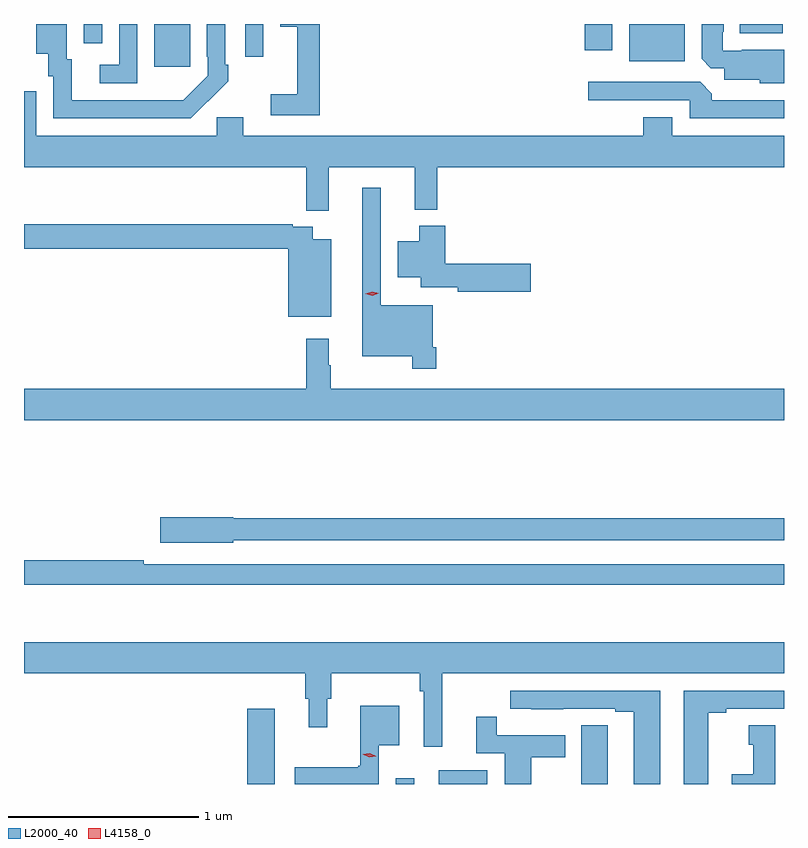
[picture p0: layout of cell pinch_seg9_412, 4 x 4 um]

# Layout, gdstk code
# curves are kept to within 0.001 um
import gdstk
lib = gdstk.Library(unit=1e-6, precision=1e-09)
def R(c, l, rs):  # rectangles x0, y0, x1, y1
    for r in rs: c.add(gdstk.rectangle(r[:2], r[2:], *l))
def P(c, l, *ps):  # polygons
    for p in ps: c.add(gdstk.Polygon(p, *l))
L2000_40 = (2000, 40)
L4158_0 = (4158, 0)

pinch_seg9_412 = lib.new_cell('pinch_seg9_412')
R(pinch_seg9_412, L2000_40, [(221.072,1237.129,221.218,1237.525), (221.853,1237.129,221.95,1237.159), (222.08,1237.129,222.334,1237.201), (220.583,1240.905,220.771,1241.129), (223.082,1240.934,223.375,1241.129), (221.061,1240.956,221.157,1241.129), (222.848,1240.992,222.994,1241.129), (220.212,1241.028,220.308,1241.129), (223.664,1241.081,223.891,1241.129)])
P(pinch_seg9_412, L2000_40, [(220.494,1241.129),(220.398,1241.129),(220.398,1240.914),(220.296,1240.914),(220.296,1240.818),(220.494,1240.818)],
  [(220.865,1240.723),(220.866,1240.722),(220.971,1240.827),(220.971,1240.915),(220.956,1240.915),(220.956,1241.129),(220.86,1241.129),(220.86,1240.957),(220.863,1240.957),(220.863,1240.857),(220.735,1240.729),(220.631,1240.728),(220.147,1240.728),(220.147,1240.944),(220.123,1240.944),(220.123,1241.129),(219.962,1241.129),(219.962,1240.973),(220.025,1240.973),(220.025,1240.854),(220.05,1240.854),(220.05,1240.632),(220.774,1240.632)],
  [(221.453,1241.129),(221.246,1241.129),(221.246,1241.114),(221.336,1241.114),(221.336,1240.759),(221.196,1240.759),(221.196,1240.65),(221.453,1240.65)],
  [(223.897,1240.993),(223.675,1240.993),(223.675,1240.989),(223.575,1240.989),(223.575,1241.089),(223.579,1241.089),(223.579,1241.129),(223.463,1241.129),(223.463,1240.945),(223.512,1240.896),(223.583,1240.896),(223.583,1240.835),(223.77,1240.835),(223.77,1240.817),(223.897,1240.817)],
  [(223.897,1240.728),(223.517,1240.728),(223.517,1240.762),(223.455,1240.824),(222.867,1240.824),(222.867,1240.728),(223.401,1240.728),(223.401,1240.632),(223.897,1240.632)],
  [(221.501,1240.376),(221.954,1240.376),(221.954,1240.151),(222.071,1240.151),(222.071,1240.376),(223.897,1240.376),(223.897,1240.54),(223.309,1240.54),(223.309,1240.639),(223.157,1240.639),(223.157,1240.54),(221.05,1240.54),(221.05,1240.638),(220.911,1240.638),(220.911,1240.54),(219.961,1240.54),(219.961,1240.776),(219.897,1240.776),(219.897,1240.376),(221.383,1240.376),(221.383,1240.147),(221.501,1240.147)],
  [(222.068,1239.427),(222.048,1239.427),(222.048,1239.649),(221.775,1239.649),(221.775,1240.267),(221.678,1240.267),(221.678,1239.38),(221.94,1239.38),(221.94,1239.315),(222.068,1239.315)],
  [(221.515,1239.997),(221.416,1239.997),(221.416,1240.062),(221.312,1240.062),(221.312,1240.075),(219.897,1240.075),(219.897,1239.946),(221.288,1239.946),(221.288,1239.587),(221.515,1239.587)],
  [(222.565,1239.866),(222.113,1239.866),(222.113,1240.066),(221.978,1240.066),(221.978,1239.985),(221.864,1239.985),(221.864,1239.797),(221.984,1239.797),(221.984,1239.743),(222.18,1239.743),(222.18,1239.719),(222.565,1239.719)],
  [(223.897,1239.208),(221.512,1239.208),(221.512,1239.332),(221.5,1239.332),(221.5,1239.472),(221.383,1239.472),(221.383,1239.208),(219.897,1239.208),(219.897,1239.044),(223.897,1239.044)],
  [(220.998,1238.412),(223.897,1238.412),(223.897,1238.528),(220.998,1238.528),(220.998,1238.534),(220.614,1238.534),(220.614,1238.399),(220.998,1238.399)],
  [(223.897,1238.286),(220.526,1238.286),(220.526,1238.306),(219.897,1238.306),(219.897,1238.178),(223.897,1238.178)],
  [(222.098,1237.712),(223.897,1237.712),(223.897,1237.876),(219.897,1237.876),(219.897,1237.712),(221.377,1237.712),(221.377,1237.578),(221.396,1237.578),(221.396,1237.428),(221.494,1237.428),(221.494,1237.578),(221.513,1237.578),(221.513,1237.712),(221.98,1237.712),(221.98,1237.616),(222,1237.616),(222,1237.326),(222.098,1237.326)],
  [(223.498,1237.504),(223.594,1237.504),(223.594,1237.524),(223.897,1237.524),(223.897,1237.62),(223.37,1237.62),(223.37,1237.129),(223.498,1237.129)],
  [(223.246,1237.62),(222.456,1237.62),(222.456,1237.524),(222.568,1237.524),(222.568,1237.523),(222.734,1237.523),(222.734,1237.524),(223.01,1237.524),(223.01,1237.509),(223.106,1237.509),(223.106,1237.129),(223.246,1237.129)],
  [(221.763,1237.334),(221.872,1237.334),(221.872,1237.54),(221.666,1237.54),(221.666,1237.224),(221.655,1237.224),(221.655,1237.216),(221.322,1237.216),(221.322,1237.129),(221.763,1237.129)],
  [(222.568,1237.27),(222.745,1237.27),(222.745,1237.386),(222.386,1237.386),(222.386,1237.483),(222.278,1237.483),(222.278,1237.29),(222.428,1237.29),(222.428,1237.129),(222.568,1237.129)],
  [(222.97,1237.331),(222.969,1237.331),(222.969,1237.439),(222.83,1237.439),(222.83,1237.129),(222.97,1237.129)],
  [(223.852,1237.438),(223.712,1237.438),(223.712,1237.335),(223.736,1237.335),(223.736,1237.18),(223.622,1237.18),(223.622,1237.129),(223.852,1237.129)])
P(pinch_seg9_412, L4158_0, [(221.729,1239.7),(221.693,1239.708),(221.693,1239.708),(221.693,1239.709),(221.729,1239.72),(221.765,1239.711),(221.765,1239.711),(221.765,1239.711)],
  [(221.714,1237.271),(221.68,1237.285),(221.68,1237.286),(221.68,1237.286),(221.716,1237.29),(221.75,1237.275),(221.75,1237.275),(221.75,1237.275)])

lib.write_gds('pinch_seg9_412.gds')
